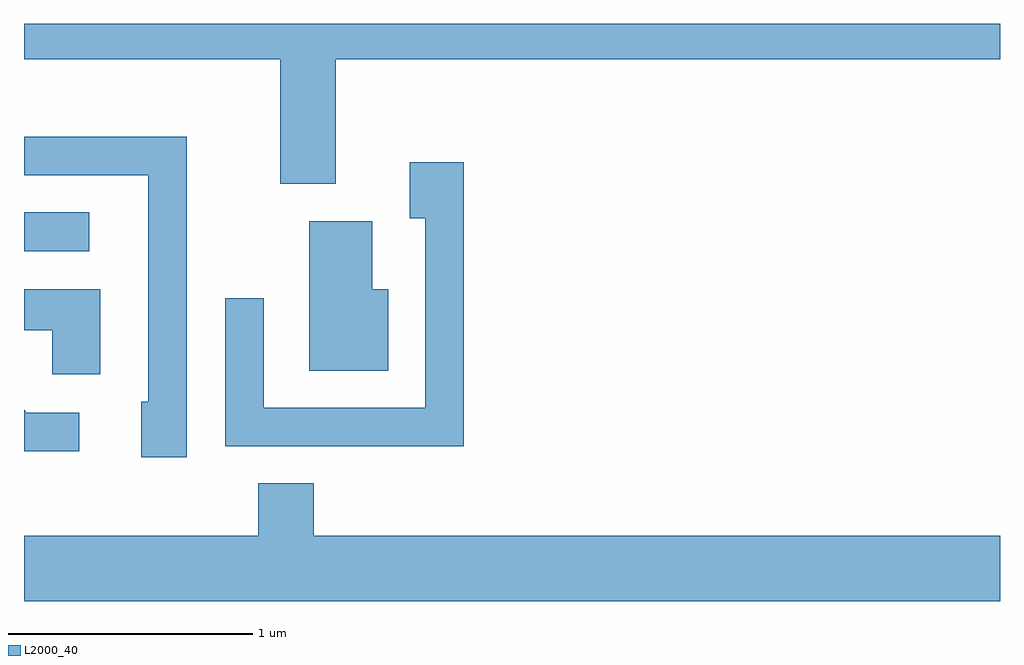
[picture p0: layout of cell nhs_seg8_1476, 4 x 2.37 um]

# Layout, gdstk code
import gdstk
lib = gdstk.Library(unit=1e-6, precision=1e-09)
def R(c, l, rs):  # rectangles x0, y0, x1, y1
    for r in rs: c.add(gdstk.rectangle(r[:2], r[2:], *l))
def P(c, l, *ps):  # polygons
    for p in ps: c.add(gdstk.Polygon(p, *l))
L2000_40 = (2000, 40)

nhs_seg8_1476 = lib.new_cell('nhs_seg8_1476')
R(nhs_seg8_1476, L2000_40, [(229.611,1833.411,229.878,1833.569)])
P(nhs_seg8_1476, L2000_40, [(230.889,1834.196),(233.611,1834.196),(233.611,1834.342),(229.611,1834.342),(229.611,1834.196),(230.661,1834.196),(230.661,1833.686),(230.889,1833.686)],
  [(230.279,1833.879),(229.611,1833.879),(229.611,1833.721),(230.121,1833.721),(230.121,1832.794),(230.091,1832.794),(230.091,1832.566),(230.279,1832.566)],
  [(231.414,1833.774),(231.191,1833.774),(231.191,1833.546),(231.256,1833.546),(231.256,1832.769),(230.594,1832.769),(230.594,1833.218),(230.436,1833.218),(230.436,1832.611),(231.414,1832.611)],
  [(231.104,1833.254),(231.039,1833.254),(231.039,1833.534),(230.781,1833.534),(230.781,1832.921),(231.104,1832.921)],
  [(229.924,1833.254),(229.611,1833.254),(229.611,1833.086),(229.726,1833.086),(229.726,1832.906),(229.924,1832.906)],
  [(229.838,1832.749),(229.622,1832.749),(229.611,1832.76),(229.611,1832.591),(229.838,1832.591)],
  [(233.611,1832.244),(230.799,1832.244),(230.799,1832.459),(230.571,1832.459),(230.571,1832.244),(229.611,1832.244),(229.611,1831.976),(233.611,1831.976)])

lib.write_gds('nhs_seg8_1476.gds')
